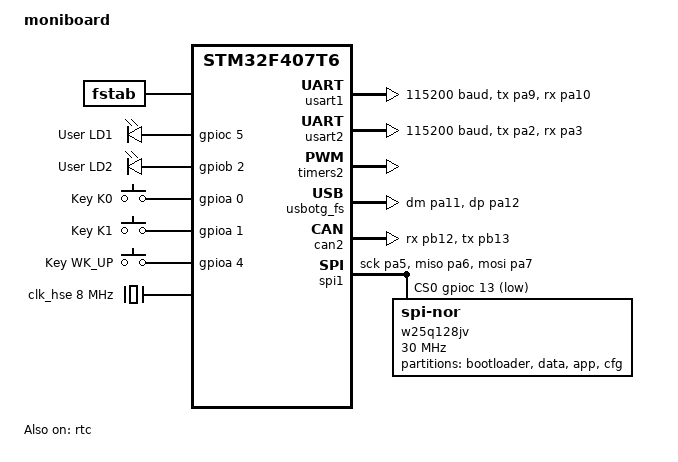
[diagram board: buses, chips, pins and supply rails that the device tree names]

/dts-v1/;
#include <st/f4/stm32f407Xe.dtsi>
#include <st/f4/stm32f407v(e-g)tx-pinctrl.dtsi>
#include <zephyr/dt-bindings/input/input-event-codes.h>

/ {
	model = "moniboard";
	compatible = "moni-stm32f407t6";

	chosen {
		zephyr,console = &usart1;
		zephyr,shell-uart = &usart1;
		zephyr,sram = &sram0;
		zephyr,flash = &flash0;
		zephyr,ccm = &ccm0;
		zephyr,canbus = &can2;
		zephyr,settings-partition = &cfg_partition;
	};
	fstab {
		compatible = "zephyr,fstab";
		lfs1: lfs1 {
			compatible = "zephyr,fstab,littlefs";
			read-size = <1>;
			prog-size = <16>;
			cache-size = <256>;
			lookahead-size = <32>;
			block-cycles = <512>;
			automount;
			partition = <&storage_partition>;
			mount-point = "/lfs1";
		};
	};
	leds {
		compatible = "gpio-leds";
		red_led: led_1 {
			gpios = <&gpioc 5 GPIO_ACTIVE_HIGH>;
			label = "User LD1";
		};
		blue_led: led_2 {
			gpios = <&gpiob 2 GPIO_ACTIVE_HIGH>;
			label = "User LD2";
		};
	};

	gpio_keys {
		compatible = "gpio-keys";
		user_button_0: K0 {
			label = "Key K0";
			gpios = <&gpioa 0 GPIO_ACTIVE_HIGH>;
			zephyr,code = <INPUT_KEY_0>;
		};
		user_button_1: K1 {
			label = "Key K1";
			gpios = <&gpioa 1 GPIO_ACTIVE_HIGH>;
			zephyr,code = <INPUT_KEY_1>;
		};
		user_button_UP: K_UP {
			label = "Key WK_UP";
			gpios = <&gpioa 4 GPIO_ACTIVE_HIGH>;
			zephyr,code = <INPUT_KEY_UP>;
		};
	};

	aliases {
		led0 = &red_led;
		led1 = &blue_led;
		sw0 = &user_button_UP;
	};
};

&clk_lsi {
	status = "okay";
};

&clk_hse {
	clock-frequency = <DT_FREQ_M(8)>;
	status = "okay";
};

&pll {
	div-m = <8>;
	mul-n = <336>;
	div-p = <2>;
	div-q = <7>;
	clocks = <&clk_hse>;
	status = "okay";
};

&rcc {
	clocks = <&pll>;
	clock-frequency = <DT_FREQ_M(168)>;
	ahb-prescaler = <1>;
	apb1-prescaler = <4>;
	apb2-prescaler = <2>;
};

&usart1 {
	pinctrl-0 = <&usart1_tx_pa9 &usart1_rx_pa10>;
	pinctrl-names = "default";
	current-speed = <115200>;
	status = "okay";
};

&usart2 {
	pinctrl-0 = <&usart2_tx_pa2 &usart2_rx_pa3>;
	pinctrl-names = "default";
	current-speed = <115200>;
	status = "okay";
};

&timers2 {
	status = "okay";

	pwm2: pwm {
		status = "okay";
		pinctrl-0 = <&tim2_ch1_pa0>;
		pinctrl-names = "default";
	};
};

&rtc {
	clocks = <&rcc STM32_CLOCK_BUS_APB1 0x10000000>,
		 <&rcc STM32_SRC_LSI RTC_SEL(2)>;
	status = "okay";
};

zephyr_udc0: &usbotg_fs {
	pinctrl-0 = <&usb_otg_fs_dm_pa11 &usb_otg_fs_dp_pa12>;
	pinctrl-names = "default";
	status = "okay";
};

&can1 {
	pinctrl-0 = <&can1_rx_pd0 &can1_tx_pd1>;
	pinctrl-names = "default";
	status = "disabled";
};

&can2 {
	pinctrl-0 = <&can2_rx_pb12 &can2_tx_pb13>;
	pinctrl-names = "default";
	status = "okay";
};

&spi1 {
	pinctrl-0 = <&spi1_sck_pa5 &spi1_miso_pa6 &spi1_mosi_pa7>;
	pinctrl-names = "default";
	status = "okay";
	cs-gpios = <&gpioc 13 GPIO_ACTIVE_LOW>;
	w25q128jv: w25q128jv@0 {
		compatible = "jedec,spi-nor";
		reg = <0x0000000 DT_SIZE_M(16)>;
		spi-max-frequency = <30000000>;
		size = <0x8000000>;
		jedec-id = [ef 40 18];
		partitions {
			compatible = "fixed-partitions";
			#address-cells = <1>;
			#size-cells = <1>;

			boot_partition: partition@0 {
				label = "bootloader";
				reg = <0x00000000 DT_SIZE_M(1)>;
			};

			storage_partition: partition@100000 {
				label = "data";
				reg = <0x00100000 DT_SIZE_M(12)>;
			};
			app_partition: jartition@D00000 {
				label = "app";
				reg = <0x00D00000 DT_SIZE_M(2)>;
			};
			cfg_partition: partition@F00000 {
				label = "cfg";
				reg = <0x00F00000 DT_SIZE_M(1)>;
			};
		};
	};
};

